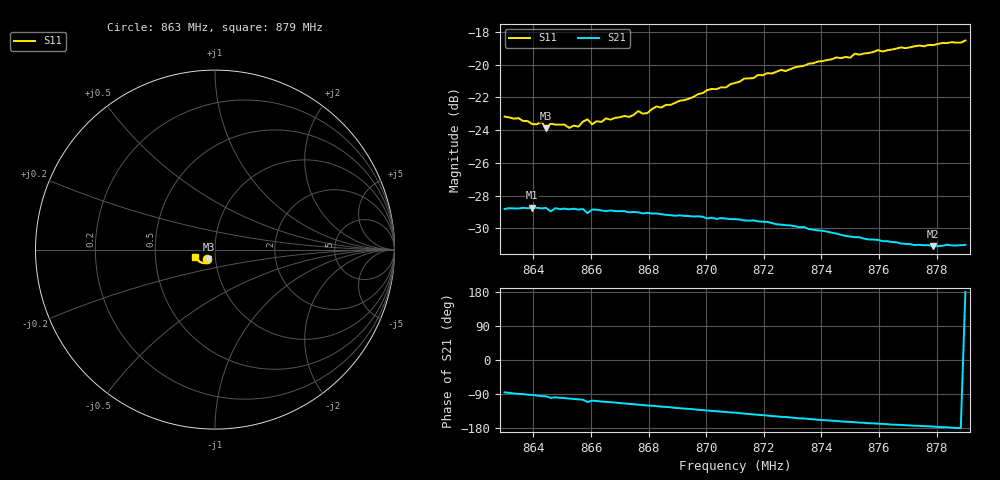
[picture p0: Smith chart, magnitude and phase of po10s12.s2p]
# HZ S RI R 50
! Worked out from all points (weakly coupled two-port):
!   101 points, 863 MHz to 879 MHz, reference 50 ohm
!   highest |S21| = -28.73 dB at 863.96 MHz (marker M1); lowest = -31.1 dB at 877.88 MHz (marker M2)
!   lowest |S11| = -23.9 dB at 864.44 MHz (marker M3), VSWR 1.14, Z = 46.2 - j4.84 ohm
!   |S11| at or under -10 dB: start of sweep to end of sweep
!   S12 and S22 are empty: the file has one direction only
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8.63e8  -0.0436 -0.054  0.00297 -0.0362  0 0  0 0
8.6396e8  -0.04 -0.0523  -0.00144 -0.0366  0 0  0 0
8.6428e8  -0.0386 -0.0546  -0.00345 -0.0362  0 0  0 0
8.6444e8  -0.0368 -0.0521  -0.00368 -0.0363  0 0  0 0
8.646e8  -0.0377 -0.0543  -0.00615 -0.0351  0 0  0 0
8.6476e8  -0.0378 -0.0536  -0.0053 -0.0361  0 0  0 0
8.6524e8  -0.0349 -0.0537  -0.00739 -0.0354  0 0  0 0
8.6556e8  -0.0348 -0.0545  -0.00861 -0.0351  0 0  0 0
8.6572e8  -0.0349 -0.0571  -0.00928 -0.035  0 0  0 0
8.6588e8  -0.038 -0.0564  -0.0126 -0.0329  0 0  0 0
8.6604e8  -0.0347 -0.0558  -0.0106 -0.0345  0 0  0 0
8.6652e8  -0.0348 -0.0591  -0.0126 -0.0334  0 0  0 0
8.6732e8  -0.0341 -0.0603  -0.0154 -0.0319  0 0  0 0
8.6764e8  -0.0353 -0.0629  -0.0166 -0.0313  0 0  0 0
8.6796e8  -0.0335 -0.0628  -0.0177 -0.0305  0 0  0 0
8.6828e8  -0.0358 -0.0654  -0.0185 -0.0299  0 0  0 0
8.6844e8  -0.0356 -0.0648  -0.0191 -0.0293  0 0  0 0
8.71e8  -0.0475 -0.074  -0.0255 -0.0222  0 0  0 0
8.7372e8  -0.0666 -0.0759  -0.0287 -0.0125  0 0  0 0
8.7644e8  -0.0921 -0.0622  -0.0284 -0.00473  0 0  0 0
8.7788e8  -0.1031 -0.0502  -0.0278 -0.00214  0 0  0 0
8.79e8  -0.1114 -0.0405  -0.0282 0.000196  0 0  0 0
